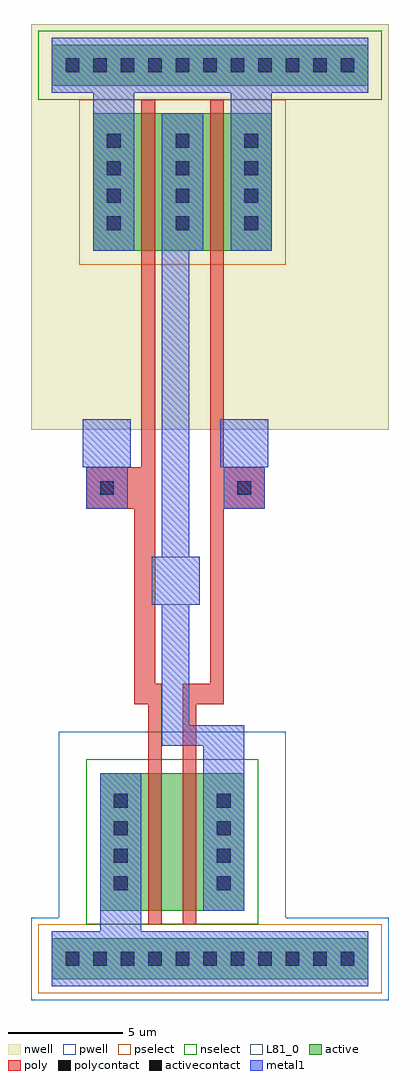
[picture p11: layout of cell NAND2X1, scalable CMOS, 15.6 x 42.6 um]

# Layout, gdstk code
import gdstk
lib = gdstk.Library(unit=1e-6, precision=1e-09)
def R(c, l, rs):  # rectangles x0, y0, x1, y1
    for r in rs: c.add(gdstk.rectangle(r[:2], r[2:], *l))
def A(c, l, x, y, w, h, nx, ny, dx, dy):  # array of equal rectangles
    R(c, l, [(x+i*dx, y+j*dy, x+i*dx+w, y+j*dy+h) for i in range(nx) for j in range(ny)])
pwell = (41, 0)
nwell = (42, 0)
active = (43, 0)
pselect = (44, 0)
nselect = (45, 0)
poly = (46, 0)
polycontact = (47, 0)
activecontact = (48, 0)
metal1 = (49, 0)
L81_0 = (81, 0)

nand2x1 = lib.new_cell('NAND2X1')
R(nand2x1, pwell, [(-1.8,-1.8,13.8,1.8), (-0.6,1.8,9.3,9.9)])
R(nand2x1, nwell, [(-1.8,23.1,13.8,40.8)])
R(nand2x1, active, [(-0.9,-0.9,12.9,0.9), (1.2,2.1,7.5,8.1), (0.9,30.9,8.7,36.9), (-0.9,38.1,12.9,39.9)])
R(nand2x1, pselect, [(-1.5,-1.5,13.5,1.5), (0.3,30.3,9.3,37.5)])
R(nand2x1, nselect, [(0.6,1.5,8.1,8.7), (-1.5,37.5,13.5,40.5)])
R(nand2x1, poly, [(3.3,1.5,3.9,11.1), (4.8,1.5,5.4,11.1), (2.7,11.1,3.9,12), (4.8,11.1,6.6,12), (2.7,12,3.6,19.65), (6,12,6.6,19.65), (0.6,19.65,3.6,21.45), (6,19.65,8.4,21.45), (3,21.45,3.6,37.5), (6,21.45,6.6,37.5)])
R(nand2x1, polycontact, [(1.2,20.25,1.8,20.85), (7.2,20.25,7.8,20.85)])
A(nand2x1, activecontact, -0.3, -0.3, 0.6, 0.6, 11, 2, 1.2, 39)
A(nand2x1, activecontact, 1.8, 3, 0.6, 0.6, 1, 4, 0, 1.2)
A(nand2x1, activecontact, 6.3, 3, 0.6, 0.6, 1, 4, 0, 1.2)
A(nand2x1, activecontact, 1.5, 31.8, 0.6, 0.6, 3, 4, 3, 1.2)
R(nand2x1, metal1, [(-0.9,-1.2,12.9,1.2), (1.2,1.2,3,8.1), (5.7,2.1,7.5,9.3), (3.9,9.3,7.5,10.2), (3.9,10.2,5.1,15.45), (3.45,15.45,5.55,17.55), (3.9,17.55,5.1,30.9), (0.6,19.65,2.4,21.45), (6.6,19.65,8.4,21.45), (0.45,21.45,2.55,23.55), (6.45,21.45,8.55,23.55), (0.9,30.9,2.7,37.8), (3.9,30.9,5.7,36.9), (6.9,30.9,8.7,37.8), (-0.9,37.8,12.9,40.2)])
R(nand2x1, L81_0, [(3.45,15.45,5.55,17.55), (0.45,21.45,2.55,23.55), (6.45,21.45,8.55,23.55)])

lib.write_gds('NAND2X1.gds')
